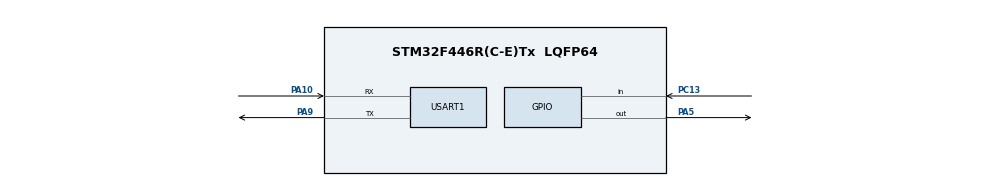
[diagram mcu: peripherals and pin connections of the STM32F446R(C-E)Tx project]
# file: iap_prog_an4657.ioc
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Mcu.Family=STM32F4
Mcu.Name=STM32F446R(C-E)Tx
Mcu.Package=LQFP64
NVIC.PriorityGroup=NVIC_PRIORITYGROUP_4
PA10.Mode=Asynchronous
PA10.Signal=USART1_RX
PA13.Mode=Serial_Wire
PA13.Signal=SYS_JTMS-SWDIO
PA14.Mode=Serial_Wire
PA14.Signal=SYS_JTCK-SWCLK
PA5.Signal=GPIO_Output
PA9.Mode=Asynchronous
PA9.Signal=USART1_TX
PC13.GPIO_PuPd=GPIO_PULLUP
PC13.Signal=GPIO_Input
PH0-OSC_IN.Mode=HSE-External-Oscillator
PH0-OSC_IN.Signal=RCC_OSC_IN
PH1-OSC_OUT.Mode=HSE-External-Oscillator
PH1-OSC_OUT.Signal=RCC_OSC_OUT
ProjectManager.HeapSize=0x200
ProjectManager.StackSize=0x400
ProjectManager.TargetToolchain=STM32CubeIDE
RCC.CortexFreq_Value=16000000
RCC.USBFreq_Value=96000000
RCC.VCOOutputFreq_Value=192000000
USART1.VirtualMode=VM_ASYNC
board=custom

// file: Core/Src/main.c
/* USER CODE BEGIN Header */
/**
  ******************************************************************************
  * @file           : main.c
  * @brief          : Main program body
  ******************************************************************************
  * @attention
  *
  * Copyright (c) 2026 STMicroelectronics.
  * All rights reserved.
  *
  * This software is licensed under terms that can be found in the LICENSE file
  * in the root directory of this software component.
  * If no LICENSE file comes with this software, it is provided AS-IS.
  *
  ******************************************************************************
  */
/* USER CODE END Header */
#include "main.h"
#include <stdio.h>
#include <string.h>

/* USER CODE BEGIN PTD */
#define APP_ADDR        0x08010000U
#define FW_TIMEOUT      15000U
#define BUF_SIZE        256U
#define START_MAGIC     "START"
#define START_LEN       5U
#define ACK_BYTE        0xAA
#define BLOCK_ACK       0x55
/* USER CODE END PTD */

/* USER CODE BEGIN PM */
uint8_t rxBuf[BUF_SIZE];
/* USER CODE END PM */

UART_HandleTypeDef huart1;

/* USER CODE BEGIN PV */
static uint32_t crc32_update(uint32_t crc, uint8_t data);
static uint32_t crc32_buffer(const uint8_t *data, uint32_t len);
static void JumpToApp(void);
static uint8_t ReceiveFW(void);
static uint8_t AppIsValid(void);
/* USER CODE END PV */

void SystemClock_Config(void);
static void MX_GPIO_Init(void);
static void MX_USART1_UART_Init(void);

/* USER CODE BEGIN 0 */
int _write(int file, char *ptr, int len)
{
    (void)file;
    HAL_UART_Transmit(&huart1, (uint8_t *)ptr, len, HAL_MAX_DELAY);
    return len;
}

static uint32_t crc32_update(uint32_t crc, uint8_t data)
{
    crc ^= data;
    for (int i = 0; i < 8; i++)
    {
        if (crc & 1U)
            crc = (crc >> 1) ^ 0xEDB88320U;
        else
            crc >>= 1;
    }
    return crc;
}

static uint32_t crc32_buffer(const uint8_t *data, uint32_t len)
{
    uint32_t crc = 0xFFFFFFFFU;
    for (uint32_t i = 0; i < len; i++)
        crc = crc32_update(crc, data[i]);
    return ~crc;
}

static uint8_t AppIsValid(void)
{
    uint32_t sp = *(uint32_t *)APP_ADDR;
    uint32_t rh = *(uint32_t *)(APP_ADDR + 4U);

    if ((sp & 0x2FFE0000U) != 0x20000000U)
        return 0;

    if (rh < APP_ADDR || rh > 0x08100000U)
        return 0;

    return 1;
}

static void JumpToApp(void)
{
    if (!AppIsValid())
        return;

    uint32_t appStack = *(uint32_t *)APP_ADDR;
    uint32_t appReset = *(uint32_t *)(APP_ADDR + 4U);
    void (*appEntry)(void) = (void (*)(void))appReset;

    HAL_UART_DeInit(&huart1);
    HAL_DeInit();

    __disable_irq();

    for (int i = 0; i < 8; i++)
    {
        NVIC->ICER[i] = 0xFFFFFFFFU;
        NVIC->ICPR[i] = 0xFFFFFFFFU;
    }

    SysTick->CTRL = 0;
    SysTick->LOAD = 0;
    SysTick->VAL = 0;

    SCB->VTOR = APP_ADDR;
    __set_MSP(appStack);

    appEntry();
}

static uint8_t ReceiveFW(void)
{
    uint8_t start[START_LEN];
    uint32_t size = 0;
    uint32_t crcRx = 0;
    uint32_t addr = APP_ADDR;
    uint32_t crcCalc = 0xFFFFFFFFU;
    FLASH_EraseInitTypeDef eraseInit = {0};
    uint32_t sectorError = 0;

    memset(rxBuf, 0, sizeof(rxBuf));

    printf("WAIT START\r\n");

    if (HAL_UART_Receive(&huart1, start, START_LEN, FW_TIMEOUT) != HAL_OK)
        return 0;

    if (memcmp(start, START_MAGIC, START_LEN) != 0)
        return 0;

    HAL_UART_Transmit(&huart1, (uint8_t *)&(uint8_t){ACK_BYTE}, 1, HAL_MAX_DELAY);

    if (HAL_UART_Receive(&huart1, (uint8_t *)&size, 4, FW_TIMEOUT) != HAL_OK)
        return 0;

    if (HAL_UART_Receive(&huart1, (uint8_t *)&crcRx, 4, FW_TIMEOUT) != HAL_OK)
        return 0;

    if (size == 0U || size > (448U * 1024U))
        return 0;

    HAL_FLASH_Unlock();

    eraseInit.TypeErase = FLASH_TYPEERASE_SECTORS;
    eraseInit.VoltageRange = FLASH_VOLTAGE_RANGE_3;
    eraseInit.Sector = FLASH_SECTOR_4;
    eraseInit.NbSectors = 4;

    if (HAL_FLASHEx_Erase(&eraseInit, &sectorError) != HAL_OK)
    {
        HAL_FLASH_Lock();
        return 0;
    }

    while (size > 0U)
    {
        uint32_t chunk = (size > BUF_SIZE) ? BUF_SIZE : size;

        if (HAL_UART_Receive(&huart1, rxBuf, chunk, FW_TIMEOUT) != HAL_OK)
        {
            HAL_FLASH_Lock();
            return 0;
        }

        for(
           uint32_t i=0;
           i<chunk;
           i++)
        {
           crcCalc=
           crc32_update(
           crcCalc,
           rxBuf[i]);
        }

        uint32_t padded = chunk;
        while (padded % 4U)
            rxBuf[padded++] = 0xFFU;

        for (uint32_t i = 0; i < padded; i += 4U)
        {
            uint32_t word = *(uint32_t *)&rxBuf[i];

            if (HAL_FLASH_Program(FLASH_TYPEPROGRAM_WORD, addr, word) != HAL_OK)
            {
                HAL_FLASH_Lock();
                return 0;
            }

            addr += 4U;
        }

        HAL_UART_Transmit(&huart1, (uint8_t *)&(uint8_t){BLOCK_ACK}, 1, HAL_MAX_DELAY);
        size -= chunk;
    }

    HAL_FLASH_Lock();

    crcCalc=~crcCalc;

    if(
       crcCalc
       !=
       crcRx)
    {
        return 0;
    }

    return 1;
}
/* USER CODE END 0 */

int main(void)
{

  /* MCU Configuration--------------------------------------------------------*/

  /* Reset of all peripherals, Initializes the Flash interface and the Systick. */
  HAL_Init();

  /* Configure the system clock */
  SystemClock_Config();

  /* Initialize all configured peripherals */
  MX_GPIO_Init();
  MX_USART1_UART_Init();
  /* USER CODE BEGIN 2 */

  printf("BOOT\r\n");

  HAL_Delay(1000);

  if (ReceiveFW())
  {
      printf("FW OK\r\n");
      HAL_Delay(500);
      NVIC_SystemReset();
  }

  JumpToApp();

  /* USER CODE END 2 */

  /* Infinite loop */
  while (1)
  {

  }
}

void SystemClock_Config(void)
{
  RCC_OscInitTypeDef RCC_OscInitStruct = {0};
  RCC_ClkInitTypeDef RCC_ClkInitStruct = {0};

  /** Configure the main internal regulator output voltage
  */
  __HAL_RCC_PWR_CLK_ENABLE();
  __HAL_PWR_VOLTAGESCALING_CONFIG(PWR_REGULATOR_VOLTAGE_SCALE3);

  /** Initializes the RCC Oscillators according to the specified parameters
  * in the RCC_OscInitTypeDef structure.
  */
  RCC_OscInitStruct.OscillatorType = RCC_OSCILLATORTYPE_HSI;
  RCC_OscInitStruct.HSIState = RCC_HSI_ON;
  RCC_OscInitStruct.HSICalibrationValue = RCC_HSICALIBRATION_DEFAULT;
  RCC_OscInitStruct.PLL.PLLState = RCC_PLL_NONE;
  if (HAL_RCC_OscConfig(&RCC_OscInitStruct) != HAL_OK)
  {
    Error_Handler();
  }

  /** Initializes the CPU, AHB and APB buses clocks
  */
  RCC_ClkInitStruct.ClockType = RCC_CLOCKTYPE_HCLK|RCC_CLOCKTYPE_SYSCLK
                              |RCC_CLOCKTYPE_PCLK1|RCC_CLOCKTYPE_PCLK2;
  RCC_ClkInitStruct.SYSCLKSource = RCC_SYSCLKSOURCE_HSI;
  RCC_ClkInitStruct.AHBCLKDivider = RCC_SYSCLK_DIV1;
  RCC_ClkInitStruct.APB1CLKDivider = RCC_HCLK_DIV1;
  RCC_ClkInitStruct.APB2CLKDivider = RCC_HCLK_DIV1;

  if (HAL_RCC_ClockConfig(&RCC_ClkInitStruct, FLASH_LATENCY_0) != HAL_OK)
  {
    Error_Handler();
  }
}

static void MX_USART1_UART_Init(void)
{

  huart1.Instance = USART1;
  huart1.Init.BaudRate = 115200;
  huart1.Init.WordLength = UART_WORDLENGTH_8B;
  huart1.Init.StopBits = UART_STOPBITS_1;
  huart1.Init.Parity = UART_PARITY_NONE;
  huart1.Init.Mode = UART_MODE_TX_RX;
  huart1.Init.HwFlowCtl = UART_HWCONTROL_NONE;
  huart1.Init.OverSampling = UART_OVERSAMPLING_16;
  if (HAL_UART_Init(&huart1) != HAL_OK)
  {
    Error_Handler();
  }

}

static void MX_GPIO_Init(void)
{
  GPIO_InitTypeDef GPIO_InitStruct = {0};

  /* GPIO Ports Clock Enable */
  __HAL_RCC_GPIOC_CLK_ENABLE();
  __HAL_RCC_GPIOH_CLK_ENABLE();
  __HAL_RCC_GPIOA_CLK_ENABLE();

  /*Configure GPIO pin Output Level */
  HAL_GPIO_WritePin(GPIOA, GPIO_PIN_5, GPIO_PIN_RESET);

  /*Configure GPIO pin : PC13 */
  GPIO_InitStruct.Pin = GPIO_PIN_13;
  GPIO_InitStruct.Mode = GPIO_MODE_INPUT;
  GPIO_InitStruct.Pull = GPIO_PULLUP;
  HAL_GPIO_Init(GPIOC, &GPIO_InitStruct);

  /*Configure GPIO pin : PA5 */
  GPIO_InitStruct.Pin = GPIO_PIN_5;
  GPIO_InitStruct.Mode = GPIO_MODE_OUTPUT_PP;
  GPIO_InitStruct.Pull = GPIO_NOPULL;
  GPIO_InitStruct.Speed = GPIO_SPEED_FREQ_LOW;
  HAL_GPIO_Init(GPIOA, &GPIO_InitStruct);

}

void Error_Handler(void)
{
  __disable_irq();
  while (1)
  {
  }
}
